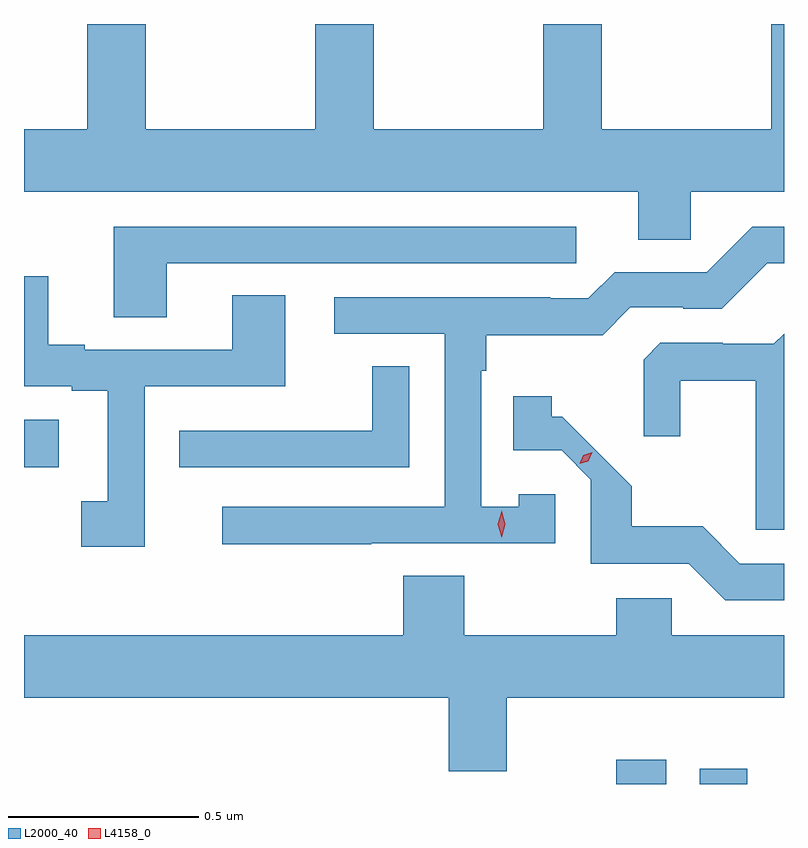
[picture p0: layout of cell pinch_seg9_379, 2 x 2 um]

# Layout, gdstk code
import gdstk
lib = gdstk.Library(unit=1e-6, precision=1e-09)
def R(c, l, rs):  # rectangles x0, y0, x1, y1
    for r in rs: c.add(gdstk.rectangle(r[:2], r[2:], *l))
def P(c, l, *ps):  # polygons
    for p in ps: c.add(gdstk.Polygon(p, *l))
L2000_40 = (2000, 40)
L4158_0 = (4158, 0)

pinch_seg9_379 = lib.new_cell('pinch_seg9_379')
R(pinch_seg9_379, L2000_40, [(383.588,1229.493,383.719,1229.557), (383.807,1229.493,383.932,1229.533), (382.029,1230.327,382.12,1230.451)])
P(pinch_seg9_379, L2000_40, [(383.784,1231.052),(384.029,1231.052),(384.029,1231.493),(383.995,1231.493),(383.995,1231.216),(383.55,1231.216),(383.55,1231.493),(383.395,1231.493),(383.395,1231.216),(382.95,1231.216),(382.95,1231.493),(382.795,1231.493),(382.795,1231.216),(382.35,1231.216),(382.35,1231.493),(382.195,1231.493),(382.195,1231.216),(382.029,1231.216),(382.029,1231.052),(383.645,1231.052),(383.645,1230.925),(383.784,1230.925)],
  [(382.405,1230.864),(383.482,1230.864),(383.482,1230.96),(382.265,1230.96),(382.265,1230.721),(382.405,1230.721)],
  [(382.943,1230.126),(383.427,1230.126),(383.427,1230.255),(383.331,1230.255),(383.331,1230.223),(383.232,1230.223),(383.232,1230.581),(383.245,1230.581),(383.245,1230.674),(383.552,1230.674),(383.625,1230.747),(383.764,1230.747),(383.764,1230.744),(383.865,1230.744),(383.985,1230.864),(384.029,1230.864),(384.029,1230.96),(383.946,1230.96),(383.826,1230.84),(383.583,1230.84),(383.514,1230.771),(383.414,1230.771),(383.414,1230.774),(382.845,1230.774),(382.845,1230.678),(383.136,1230.678),(383.136,1230.222),(382.551,1230.222),(382.551,1230.124),(382.943,1230.124)],
  [(382.347,1230.54),(382.717,1230.54),(382.717,1230.779),(382.577,1230.779),(382.577,1230.636),(382.189,1230.636),(382.189,1230.649),(382.093,1230.649),(382.093,1230.829),(382.029,1230.829),(382.029,1230.54),(382.154,1230.54),(382.154,1230.528),(382.25,1230.528),(382.25,1230.237),(382.179,1230.237),(382.179,1230.117),(382.347,1230.117)],
  [(384.029,1230.678),(384.002,1230.651),(383.868,1230.651),(383.868,1230.654),(383.703,1230.654),(383.66,1230.61),(383.66,1230.408),(383.756,1230.408),(383.756,1230.554),(383.954,1230.554),(383.954,1230.162),(384.029,1230.162)],
  [(383.043,1230.593),(382.945,1230.593),(382.945,1230.423),(382.549,1230.423),(382.549,1230.422),(382.437,1230.422),(382.437,1230.327),(383.043,1230.327)],
  [(384.029,1230.072),(383.913,1230.072),(383.815,1230.171),(383.628,1230.171),(383.628,1230.277),(383.446,1230.459),(383.418,1230.459),(383.418,1230.514),(383.317,1230.514),(383.317,1230.371),(383.444,1230.371),(383.52,1230.294),(383.52,1230.072),(383.778,1230.072),(383.874,1229.976),(384.029,1229.976)],
  [(384.029,1229.884),(383.733,1229.884),(383.733,1229.982),(383.587,1229.982),(383.587,1229.884),(383.187,1229.884),(383.187,1230.041),(383.027,1230.041),(383.027,1229.884),(382.029,1229.884),(382.029,1229.72),(383.147,1229.72),(383.147,1229.526),(383.299,1229.526),(383.299,1229.72),(384.029,1229.72)])
P(pinch_seg9_379, L4158_0, [(383.286,1230.142),(383.286,1230.142),(383.276,1230.177),(383.286,1230.211),(383.286,1230.212),(383.286,1230.211),(383.296,1230.177),(383.286,1230.142)],
  [(383.491,1230.336),(383.491,1230.336),(383.501,1230.358),(383.524,1230.366),(383.524,1230.366),(383.524,1230.366),(383.514,1230.343),(383.491,1230.336)])

lib.write_gds('pinch_seg9_379.gds')
